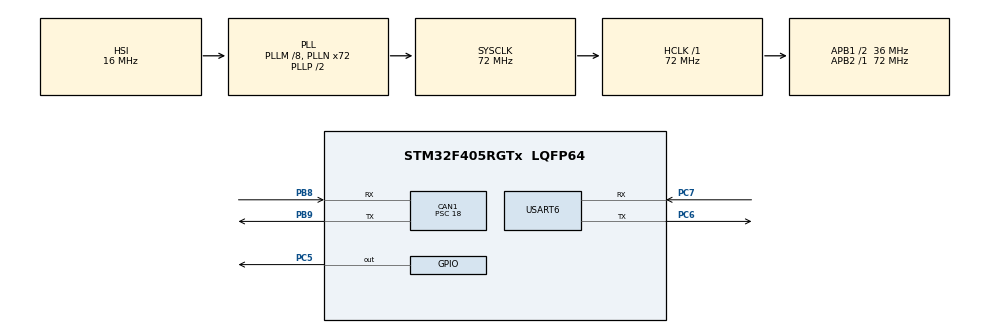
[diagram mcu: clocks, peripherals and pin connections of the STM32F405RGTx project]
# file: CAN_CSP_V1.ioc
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CAN1.BS1=CAN_BS1_2TQ
CAN1.CalculateBaudRate=500000
CAN1.CalculateTimeBit=2000
CAN1.CalculateTimeQuantum=500.0
CAN1.Prescaler=18
FREERTOS.Tasks01=defaultTask,24,128,StartDefaultTask,Default,NULL,Dynamic,NULL,NULL
FREERTOS.configTOTAL_HEAP_SIZE=30 * 1024
FREERTOS.configUSE_NEWLIB_REENTRANT=1
Mcu.Family=STM32F4
Mcu.Name=STM32F405RGTx
Mcu.Package=LQFP64
NVIC.CAN1_RX0_IRQn=true\:5\:0\:false\:false\:true\:true\:true\:true\:true
NVIC.PriorityGroup=NVIC_PRIORITYGROUP_4
NVIC.USART6_IRQn=true\:5\:0\:false\:false\:true\:true\:true\:true\:true
PA13.Mode=Serial_Wire
PA13.Signal=SYS_JTMS-SWDIO
PA14.Mode=Serial_Wire
PA14.Signal=SYS_JTCK-SWCLK
PB8.Mode=CAN_Activate
PB8.Signal=CAN1_RX
PB9.Mode=CAN_Activate
PB9.Signal=CAN1_TX
PC5.Signal=GPIO_Output
PC6.Mode=Asynchronous
PC6.Signal=USART6_TX
PC7.Mode=Asynchronous
PC7.Signal=USART6_RX
PH0-OSC_IN.Mode=HSE-External-Oscillator
PH0-OSC_IN.Signal=RCC_OSC_IN
PH1-OSC_OUT.Mode=HSE-External-Oscillator
PH1-OSC_OUT.Signal=RCC_OSC_OUT
ProjectManager.HeapSize=0x200
ProjectManager.StackSize=0x400
ProjectManager.TargetToolchain=STM32CubeIDE
RCC.48MHZClocksFreq_Value=36000000
RCC.AHBFreq_Value=72000000
RCC.APB1CLKDivider=RCC_HCLK_DIV2
RCC.APB1Freq_Value=36000000
RCC.APB1TimFreq_Value=72000000
RCC.APB2Freq_Value=72000000
RCC.APB2TimFreq_Value=72000000
RCC.CortexFreq_Value=72000000
RCC.HCLKFreq_Value=72000000
RCC.HSE_VALUE=25000000
RCC.HSI_VALUE=16000000
RCC.LSE_VALUE=32768
RCC.PLLM=8
RCC.PLLN=72
RCC.SYSCLKFreq_VALUE=72000000
RCC.SYSCLKSource=RCC_SYSCLKSOURCE_PLLCLK
RCC.VCOOutputFreq_Value=144000000
USART6.VirtualMode=VM_ASYNC
VP_FREERTOS_VS_CMSIS_V2.Mode=CMSIS_V2
board=custom

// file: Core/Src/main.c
/* USER CODE BEGIN Header */
/**
  ******************************************************************************
  * @file           : main.c
  * @brief          : Main program body
  ******************************************************************************
  * @attention
  *
  * Copyright (c) 2025 STMicroelectronics.
  * All rights reserved.
  *
  * This software is licensed under terms that can be found in the LICENSE file
  * in the root directory of this software component.
  * If no LICENSE file comes with this software, it is provided AS-IS.
  *
  ******************************************************************************
  */
/* USER CODE END Header */
#include "main.h"
#include "cmsis_os.h"

/* USER CODE BEGIN Includes */
#include "debug_logger.h"
#include "test_csp_v1.h"
/* USER CODE END Includes */

/* USER CODE BEGIN PTD */
//#define PRINTF_USART1 int __io_putchar(int data)
/* USER CODE END PTD */

CAN_HandleTypeDef hcan1;

/* Definitions for defaultTask */
osThreadId_t defaultTaskHandle;
const osThreadAttr_t defaultTask_attributes = {
  .name = "defaultTask",
  .stack_size = 128 * 4,
  .priority = (osPriority_t) osPriorityNormal,
};
/* USER CODE BEGIN PV */

CAN_TxHeaderTypeDef TxHeader;
CAN_RxHeaderTypeDef RxHeader;
uint8_t TxData[8];
uint8_t RxData[8];
uint32_t TxMailbox;

/* USER CODE END PV */

void SystemClock_Config(void);
static void MX_GPIO_Init(void);
static void MX_CAN1_Init(void);
static void MX_USART6_UART_Init(void);
void StartDefaultTask(void *argument);

/* USER CODE BEGIN 0 */
vApplicationStackOverflowHook()
{

}

void Debuglogging(void *pvParameters)
{
	while(1)
	{
		task_debug_logging();
		vTaskDelay(50);
	}
}
/* USER CODE END 0 */

int main(void)
{

  /* MCU Configuration--------------------------------------------------------*/

  /* Reset of all peripherals, Initializes the Flash interface and the Systick. */
  HAL_Init();

  /* Configure the system clock */
  SystemClock_Config();

  /* Initialize all configured peripherals */
  MX_GPIO_Init();
  MX_CAN1_Init();
  MX_USART6_UART_Init();
  /* USER CODE BEGIN 2 */

  /*****************Init CAN*******************/
  // Start CAN
  HAL_CAN_Start(&hcan1);

  // Enable interrupt nhận
  HAL_CAN_ActivateNotification(&hcan1, CAN_IT_RX_FIFO0_MSG_PENDING);

  // Cấu hình header truyền
  TxHeader.DLC = 8;             // 8 byte
  TxHeader.IDE = CAN_ID_EXT;    // Standard ID (11 bit)
  TxHeader.RTR = CAN_RTR_DATA;  // Data frame
  TxHeader.StdId = 0x103;       // CAN ID của thiết bị này

  TxData[0]= 0x83;
  /************************************/

  CSP_Init();
  uart_debug_init();

  /* USER CODE END 2 */

  /* Init scheduler */
  osKernelInitialize();

  /* Create the thread(s) */
  /* creation of defaultTask */
  defaultTaskHandle = osThreadNew(StartDefaultTask, NULL, &defaultTask_attributes);

  /* USER CODE BEGIN RTOS_THREADS */
  /* add threads, ... */
//  xTaskCreate(vTaskCspSend, "CSP_Send", 128 * 8, NULL, osPriorityNormal - 1, &hCspSend);
  xTaskCreate(vTaskCspReceive, "CSP_Receive", 128 * 8, NULL, osPriorityNormal - 1, &hCspReceive);
  xTaskCreate(Debuglogging, "Debuglogging", 128 * 2, NULL, osPriorityNormal - 1, NULL);

  /* USER CODE END RTOS_THREADS */

  /* Start scheduler */
  osKernelStart();

  /* We should never get here as control is now taken by the scheduler */

  /* Infinite loop */
  while (1)
  {

  }
}

void SystemClock_Config(void)
{
  RCC_OscInitTypeDef RCC_OscInitStruct = {0};
  RCC_ClkInitTypeDef RCC_ClkInitStruct = {0};

  /** Configure the main internal regulator output voltage
  */
  __HAL_RCC_PWR_CLK_ENABLE();
  __HAL_PWR_VOLTAGESCALING_CONFIG(PWR_REGULATOR_VOLTAGE_SCALE1);

  /** Initializes the RCC Oscillators according to the specified parameters
  * in the RCC_OscInitTypeDef structure.
  */
  RCC_OscInitStruct.OscillatorType = RCC_OSCILLATORTYPE_HSI;
  RCC_OscInitStruct.HSIState = RCC_HSI_ON;
  RCC_OscInitStruct.HSICalibrationValue = RCC_HSICALIBRATION_DEFAULT;
  RCC_OscInitStruct.PLL.PLLState = RCC_PLL_ON;
  RCC_OscInitStruct.PLL.PLLSource = RCC_PLLSOURCE_HSI;
  RCC_OscInitStruct.PLL.PLLM = 8;
  RCC_OscInitStruct.PLL.PLLN = 72;
  RCC_OscInitStruct.PLL.PLLP = RCC_PLLP_DIV2;
  RCC_OscInitStruct.PLL.PLLQ = 4;
  if (HAL_RCC_OscConfig(&RCC_OscInitStruct) != HAL_OK)
  {
    Error_Handler();
  }

  /** Initializes the CPU, AHB and APB buses clocks
  */
  RCC_ClkInitStruct.ClockType = RCC_CLOCKTYPE_HCLK|RCC_CLOCKTYPE_SYSCLK
                              |RCC_CLOCKTYPE_PCLK1|RCC_CLOCKTYPE_PCLK2;
  RCC_ClkInitStruct.SYSCLKSource = RCC_SYSCLKSOURCE_PLLCLK;
  RCC_ClkInitStruct.AHBCLKDivider = RCC_SYSCLK_DIV1;
  RCC_ClkInitStruct.APB1CLKDivider = RCC_HCLK_DIV2;
  RCC_ClkInitStruct.APB2CLKDivider = RCC_HCLK_DIV1;

  if (HAL_RCC_ClockConfig(&RCC_ClkInitStruct, FLASH_LATENCY_2) != HAL_OK)
  {
    Error_Handler();
  }
}

static void MX_CAN1_Init(void)
{

  hcan1.Instance = CAN1;
  hcan1.Init.Prescaler = 18;
  hcan1.Init.Mode = CAN_MODE_NORMAL;
  hcan1.Init.SyncJumpWidth = CAN_SJW_1TQ;
  hcan1.Init.TimeSeg1 = CAN_BS1_2TQ;
  hcan1.Init.TimeSeg2 = CAN_BS2_1TQ;
  hcan1.Init.TimeTriggeredMode = DISABLE;
  hcan1.Init.AutoBusOff = DISABLE;
  hcan1.Init.AutoWakeUp = DISABLE;
  hcan1.Init.AutoRetransmission = DISABLE;
  hcan1.Init.ReceiveFifoLocked = DISABLE;
  hcan1.Init.TransmitFifoPriority = DISABLE;
  if (HAL_CAN_Init(&hcan1) != HAL_OK)
  {
    Error_Handler();
  }
  /* USER CODE BEGIN CAN1_Init 2 */
  CAN_FilterTypeDef sFilterConfig;

  // Cấu hình filter: nhận tất cả message
  sFilterConfig.FilterBank = 0;
  sFilterConfig.FilterMode = CAN_FILTERMODE_IDMASK;
  sFilterConfig.FilterScale = CAN_FILTERSCALE_32BIT;
  sFilterConfig.FilterIdHigh = 0x0000;
  sFilterConfig.FilterIdLow = 0x0000;
  sFilterConfig.FilterMaskIdHigh = 0x0000;
  sFilterConfig.FilterMaskIdLow = 0x0000;
  sFilterConfig.FilterFIFOAssignment = CAN_RX_FIFO0;
  sFilterConfig.FilterActivation = ENABLE;
  sFilterConfig.SlaveStartFilterBank = 14;

  HAL_CAN_ConfigFilter(&hcan1, &sFilterConfig);
  /* USER CODE END CAN1_Init 2 */

}

static void MX_USART6_UART_Init(void)
{

  LL_USART_InitTypeDef USART_InitStruct = {0};

  LL_GPIO_InitTypeDef GPIO_InitStruct = {0};

  /* Peripheral clock enable */
  LL_APB2_GRP1_EnableClock(LL_APB2_GRP1_PERIPH_USART6);

  LL_AHB1_GRP1_EnableClock(LL_AHB1_GRP1_PERIPH_GPIOC);
  /**USART6 GPIO Configuration
  PC6   ------> USART6_TX
  PC7   ------> USART6_RX
  */
  GPIO_InitStruct.Pin = LL_GPIO_PIN_6|LL_GPIO_PIN_7;
  GPIO_InitStruct.Mode = LL_GPIO_MODE_ALTERNATE;
  GPIO_InitStruct.Speed = LL_GPIO_SPEED_FREQ_VERY_HIGH;
  GPIO_InitStruct.OutputType = LL_GPIO_OUTPUT_PUSHPULL;
  GPIO_InitStruct.Pull = LL_GPIO_PULL_NO;
  GPIO_InitStruct.Alternate = LL_GPIO_AF_8;
  LL_GPIO_Init(GPIOC, &GPIO_InitStruct);

  /* USART6 interrupt Init */
  NVIC_SetPriority(USART6_IRQn, NVIC_EncodePriority(NVIC_GetPriorityGrouping(),5, 0));
  NVIC_EnableIRQ(USART6_IRQn);

  USART_InitStruct.BaudRate = 115200;
  USART_InitStruct.DataWidth = LL_USART_DATAWIDTH_8B;
  USART_InitStruct.StopBits = LL_USART_STOPBITS_1;
  USART_InitStruct.Parity = LL_USART_PARITY_NONE;
  USART_InitStruct.TransferDirection = LL_USART_DIRECTION_TX_RX;
  USART_InitStruct.HardwareFlowControl = LL_USART_HWCONTROL_NONE;
  USART_InitStruct.OverSampling = LL_USART_OVERSAMPLING_16;
  LL_USART_Init(USART6, &USART_InitStruct);
  LL_USART_ConfigAsyncMode(USART6);
  LL_USART_Enable(USART6);

}

static void MX_GPIO_Init(void)
{
  GPIO_InitTypeDef GPIO_InitStruct = {0};

  /* GPIO Ports Clock Enable */
  __HAL_RCC_GPIOH_CLK_ENABLE();
  __HAL_RCC_GPIOC_CLK_ENABLE();
  __HAL_RCC_GPIOA_CLK_ENABLE();
  __HAL_RCC_GPIOB_CLK_ENABLE();

  /*Configure GPIO pin Output Level */
  HAL_GPIO_WritePin(GPIOC, GPIO_PIN_5, GPIO_PIN_RESET);

  /*Configure GPIO pin : PC5 */
  GPIO_InitStruct.Pin = GPIO_PIN_5;
  GPIO_InitStruct.Mode = GPIO_MODE_OUTPUT_PP;
  GPIO_InitStruct.Pull = GPIO_NOPULL;
  GPIO_InitStruct.Speed = GPIO_SPEED_FREQ_LOW;
  HAL_GPIO_Init(GPIOC, &GPIO_InitStruct);

}

/* USER CODE BEGIN 4 */
//PRINTF_USART1{
//	uart_ring_buffer_put((uint8_t *) &data, 1);
//	return data;
//}
/* USER CODE END 4 */

void StartDefaultTask(void *argument)
{
  /* USER CODE BEGIN 5 */
  /* Infinite loop */
  for(;;)
  {
//	  	uart_ring_buffer_put((uint8_t*)"Red toggle\n", 16);
//	  	HAL_CAN_AddTxMessage(&hcan1, &TxHeader, TxData, &TxMailbox);
	  	HAL_GPIO_TogglePin(GPIOC, GPIO_PIN_5);
	      vTaskDelay(200);
  }
  /* USER CODE END 5 */
}

void Error_Handler(void)
{
  __disable_irq();
  while (1)
  {
  }
}
